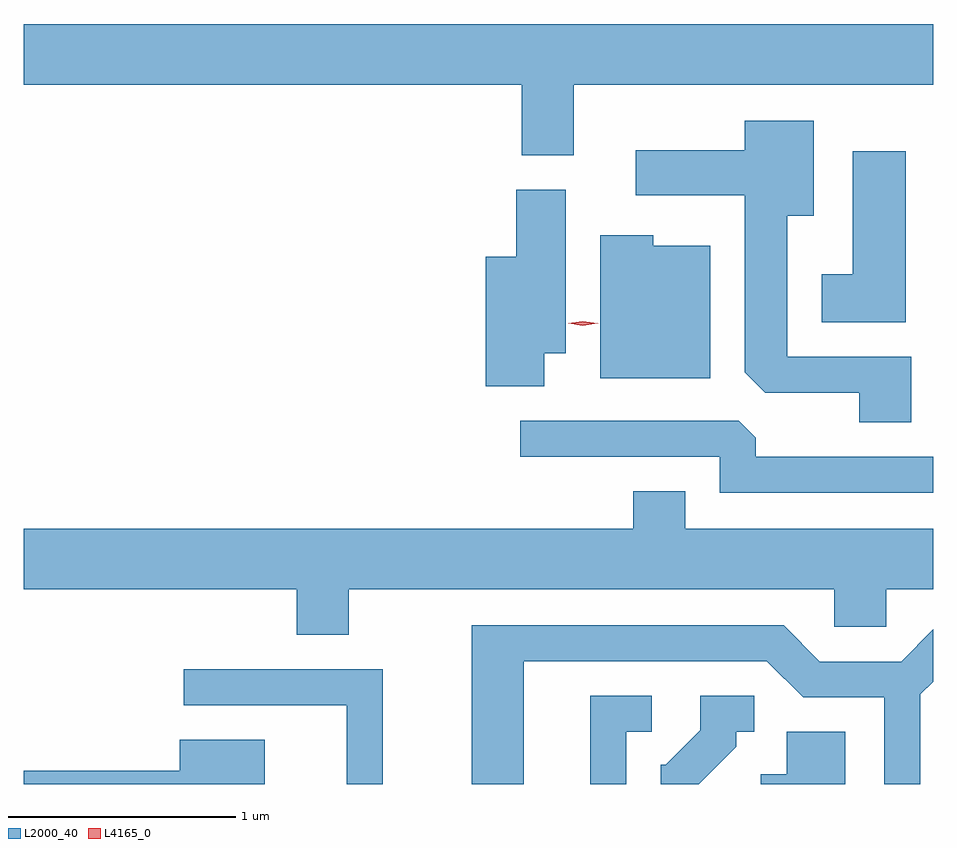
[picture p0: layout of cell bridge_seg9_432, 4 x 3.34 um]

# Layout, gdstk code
import gdstk
lib = gdstk.Library(unit=1e-6, precision=1e-09)
def P(c, l, *ps):  # polygons
    for p in ps: c.add(gdstk.Polygon(p, *l))
L2000_40 = (2000, 40)
L4165_0 = (4165, 0)

bridge_seg9_432 = lib.new_cell('bridge_seg9_432')
P(bridge_seg9_432, L2000_40, [(303.609,2051.756),(305.19,2051.756),(305.19,2052.024),(301.19,2052.024),(301.19,2051.756),(303.381,2051.756),(303.381,2051.446),(303.609,2051.446)],
  [(305.094,2050.559),(304.549,2050.559),(304.549,2051.181),(304.664,2051.181),(304.664,2051.599),(304.361,2051.599),(304.361,2051.469),(303.881,2051.469),(303.881,2051.271),(304.361,2051.271),(304.361,2050.492),(304.452,2050.401),(304.866,2050.401),(304.866,2050.271),(305.094,2050.271)],
  [(305.069,2051.464),(304.836,2051.464),(304.836,2050.924),(304.701,2050.924),(304.701,2050.711),(305.069,2050.711)],
  [(303.479,2050.576),(303.574,2050.576),(303.574,2051.294),(303.356,2051.294),(303.356,2050.999),(303.221,2050.999),(303.221,2050.431),(303.479,2050.431)],
  [(304.209,2051.049),(303.959,2051.049),(303.959,2051.094),(303.726,2051.094),(303.726,2050.466),(304.209,2050.466)],
  [(305.19,2050.119),(304.409,2050.119),(304.409,2050.204),(304.334,2050.279),(303.373,2050.279),(303.373,2050.121),(304.251,2050.121),(304.251,2049.961),(305.19,2049.961)],
  [(302.619,2049.536),(304.756,2049.536),(304.756,2049.371),(304.984,2049.371),(304.984,2049.536),(305.19,2049.536),(305.19,2049.804),(304.099,2049.804),(304.099,2049.969),(303.871,2049.969),(303.871,2049.804),(301.19,2049.804),(301.19,2049.536),(302.391,2049.536),(302.391,2049.336),(302.619,2049.336)],
  [(303.389,2049.221),(304.459,2049.221),(304.619,2049.061),(304.976,2049.061),(304.976,2048.68),(305.134,2048.68),(305.134,2049.074),(305.19,2049.13),(305.19,2049.36),(305.049,2049.219),(304.692,2049.219),(304.532,2049.379),(303.161,2049.379),(303.161,2048.68),(303.389,2048.68)],
  [(302.769,2049.184),(301.893,2049.184),(301.893,2049.026),(302.611,2049.026),(302.611,2048.68),(302.769,2048.68)],
  [(304.324,2048.844),(304.324,2048.911),(304.403,2048.911),(304.403,2049.069),(304.166,2049.069),(304.166,2048.917),(304.014,2048.764),(303.991,2048.764),(303.991,2048.68),(304.16,2048.68)],
  [(303.839,2048.911),(303.953,2048.911),(303.953,2049.069),(303.681,2049.069),(303.681,2048.68),(303.839,2048.68)],
  [(304.804,2048.909),(304.546,2048.909),(304.546,2048.724),(304.431,2048.724),(304.431,2048.68),(304.804,2048.68)],
  [(302.249,2048.874),(301.876,2048.874),(301.876,2048.739),(301.19,2048.739),(301.19,2048.68),(302.249,2048.68)])
P(bridge_seg9_432, L4165_0, [(303.649,2050.697),(303.584,2050.707),(303.583,2050.707),(303.584,2050.708),(303.649,2050.717),(303.715,2050.708),(303.716,2050.707),(303.715,2050.707)])

lib.write_gds('bridge_seg9_432.gds')
